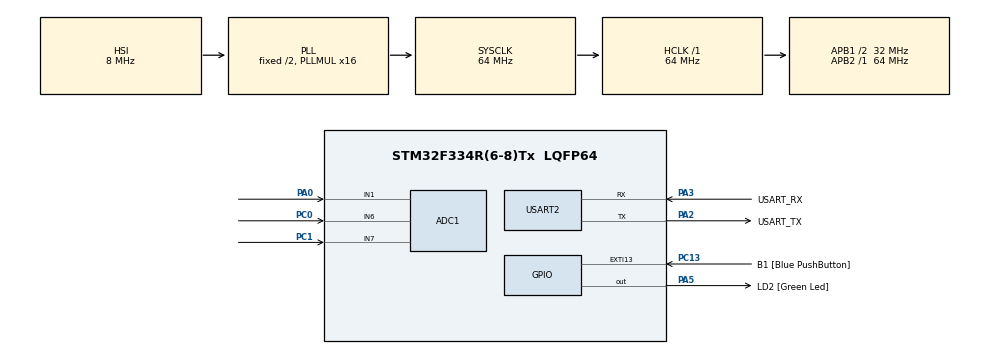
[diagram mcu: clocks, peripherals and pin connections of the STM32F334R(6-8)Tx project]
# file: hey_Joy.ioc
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ADC1.Channel-5\#ChannelRegularConversion=ADC_CHANNEL_1
ADC1.Channel-6\#ChannelRegularConversion=ADC_CHANNEL_6
ADC1.Channel-7\#ChannelRegularConversion=ADC_CHANNEL_7
ADC1.ClockPrescaler=ADC_CLOCK_SYNC_PCLK_DIV4
ADC1.ContinuousConvMode=ENABLE
ADC1.EOCSelection=ADC_EOC_SINGLE_CONV
ADC1.EnableRegularConversion=ENABLE
ADC1.NbrOfConversion=3
ADC1.NbrOfConversionFlag=1
ADC1.Offset-5\#ChannelRegularConversion=0
ADC1.Offset-6\#ChannelRegularConversion=0
ADC1.Offset-7\#ChannelRegularConversion=0
ADC1.OffsetNumber-5\#ChannelRegularConversion=ADC_OFFSET_NONE
ADC1.OffsetNumber-6\#ChannelRegularConversion=ADC_OFFSET_NONE
ADC1.OffsetNumber-7\#ChannelRegularConversion=ADC_OFFSET_NONE
ADC1.Rank-5\#ChannelRegularConversion=1
ADC1.Rank-6\#ChannelRegularConversion=2
ADC1.Rank-7\#ChannelRegularConversion=3
ADC1.SamplingTime-5\#ChannelRegularConversion=ADC_SAMPLETIME_61CYCLES_5
ADC1.SamplingTime-6\#ChannelRegularConversion=ADC_SAMPLETIME_61CYCLES_5
ADC1.SamplingTime-7\#ChannelRegularConversion=ADC_SAMPLETIME_61CYCLES_5
ADC1.SamplingTimeOPAMP-5\#ChannelRegularConversion=ADC_SAMPLETIME_7CYCLES_5
ADC1.SamplingTimeOPAMP-6\#ChannelRegularConversion=ADC_SAMPLETIME_7CYCLES_5
ADC1.SamplingTimeOPAMP-7\#ChannelRegularConversion=ADC_SAMPLETIME_7CYCLES_5
ADC1.SequencerNbRanks=1
ADC1.SubFamily=STM32F334x8
ADC1.master=1
Mcu.Family=STM32F3
Mcu.Name=STM32F334R(6-8)Tx
Mcu.Package=LQFP64
NVIC.PriorityGroup=NVIC_PRIORITYGROUP_0
PA0.Mode=IN1-Single-Ended
PA0.Signal=ADC1_IN1
PA13.GPIO_Label=TMS
PA13.Mode=Serial_Wire
PA13.Signal=SYS_JTMS-SWDIO
PA14.GPIO_Label=TCK
PA14.Mode=Serial_Wire
PA14.Signal=SYS_JTCK-SWCLK
PA2.GPIO_Label=USART_TX
PA2.Mode=Asynchronous
PA2.Signal=USART2_TX
PA3.GPIO_Label=USART_RX
PA3.Mode=Asynchronous
PA3.Signal=USART2_RX
PA5.GPIO_Label=LD2 [Green Led]
PA5.Signal=GPIO_Output
PB3.GPIO_Label=SWO
PB3.Signal=SYS_JTDO-TRACESWO
PC0.Signal=ADCx_IN6
PC1.Signal=ADCx_IN7
PC13.GPIO_Label=B1 [Blue PushButton]
PC13.GPIO_ModeDefaultEXTI=GPIO_MODE_IT_FALLING
PC13.Signal=GPXTI13
PC14\ /\ OSC32_IN.Signal=RCC_OSC32_IN
PC15\ /\ OSC32_OUT.GPIO_Label=RCC_OSC32_OUT
PC15\ /\ OSC32_OUT.Signal=RCC_OSC32_OUT
PF0\ /\ OSC_IN.Signal=RCC_OSC_IN
PF1\ /\ OSC_OUT.Signal=RCC_OSC_OUT
ProjectManager.HeapSize=0x200
ProjectManager.StackSize=0x400
ProjectManager.TargetToolchain=STM32CubeIDE
RCC.AHBFreq_Value=64000000
RCC.APB1CLKDivider=RCC_HCLK_DIV2
RCC.APB1Freq_Value=32000000
RCC.APB1TimFreq_Value=64000000
RCC.APB2Freq_Value=64000000
RCC.APB2TimFreq_Value=64000000
RCC.CortexFreq_Value=64000000
RCC.FLatency-AdvancedSettings=FLASH_LATENCY_2
RCC.HCLKFreq_Value=64000000
RCC.HSE_VALUE=8000000
RCC.HSI_VALUE=8000000
RCC.LSE_VALUE=32768
RCC.PLLMUL=RCC_PLL_MUL16
RCC.SYSCLKFreq_VALUE=64000000
RCC.SYSCLKSourceVirtual=RCC_SYSCLKSOURCE_PLLCLK
SH.ADCx_IN6.0=ADC1_IN6,IN6-Single-Ended
SH.ADCx_IN7.0=ADC1_IN7,IN7-Single-Ended
USART2.VirtualMode-Asynchronous=VM_ASYNC
board=NUCLEO-F334R8

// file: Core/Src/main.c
/* USER CODE BEGIN Header */
/**
  ******************************************************************************
  * @file           : main.c
  * @brief          : Main program body
  ******************************************************************************
  * @attention
  *
  * Copyright (c) 2022 STMicroelectronics.
  * All rights reserved.
  *
  * This software is licensed under terms that can be found in the LICENSE file
  * in the root directory of this software component.
  * If no LICENSE file comes with this software, it is provided AS-IS.
  *
  ******************************************************************************
  */
/* USER CODE END Header */
#include "main.h"

/* USER CODE BEGIN Includes */
#include "stdio.h"
/* USER CODE END Includes */

/* USER CODE BEGIN PD */
 uint16_t uwADCxConvertedValue[3];
/* USER CODE END PD */

ADC_HandleTypeDef hadc1;

UART_HandleTypeDef huart2;

void SystemClock_Config(void);
static void MX_GPIO_Init(void);
static void MX_USART2_UART_Init(void);
static void MX_ADC1_Init(void);

/* USER CODE BEGIN 0 */
#ifdef __GNUC__
/* With GCC, small printf (option LD Linker->Libraries->Small printf
set to 'Yes') calls __io_putchar() */
#define PUTCHAR_PROTOTYPE int __io_putchar(int ch)
#else
#define PUTCHAR_PROTOTYPE int fputc(int ch, FILE *f)
#endif /* __GNUC__ */
/**
* @brief Retargets the C library printf function to the USART.
* @param None
* @retval None
*/
PUTCHAR_PROTOTYPE
{
/* Place your implementation of fputc here */
/* e.g. write a character to the USART1 and Loop until the end of transmission */
if (ch == '\n')
HAL_UART_Transmit (&huart2, (uint8_t*) "\r", 1, 0xFFFF);
HAL_UART_Transmit (&huart2, (uint8_t*) &ch, 1, 0xFFFF);
return ch;
}
/* USER CODE END 0 */

int main(void)
{

  /* MCU Configuration--------------------------------------------------------*/

  /* Reset of all peripherals, Initializes the Flash interface and the Systick. */
  HAL_Init();

  /* Configure the system clock */
  SystemClock_Config();

  /* Initialize all configured peripherals */
  MX_GPIO_Init();
  MX_USART2_UART_Init();
  MX_ADC1_Init();
  /* USER CODE BEGIN 2 */

 // uint16_t SW;
  //HAL_ADCEx_Calibration_Start(&hadc1, ADC_CHANNEL_1);
  if( HAL_ADCEx_Calibration_Start(&hadc1, ADC_CHANNEL_1) != HAL_OK ){
  Error_Handler();
  }
  if( HAL_ADCEx_Calibration_Start(&hadc1, ADC_CHANNEL_6) != HAL_OK ){
  Error_Handler();
  }
  if( HAL_ADCEx_Calibration_Start(&hadc1, ADC_CHANNEL_7) != HAL_OK ){
  Error_Handler();
  }

  /* USER CODE END 2 */

  /* Infinite loop */
  /* USER CODE BEGIN WHILE */
  while (1)
  {

	  if (HAL_ADC_Start (&hadc1) != HAL_OK)
		{

		Error_Handler ();
		}

	  for (uint8_t i = 0; i < 3; i++)
	  {
	  /* ### - 5 - Wait for the end of conversion ############## */

	  HAL_ADC_PollForConversion (&hadc1, 10000); //HAL_MAX_DELAY

	  /* Check if the continuous conversion of regular channel is finished */
	  if ((HAL_ADC_GetState (&hadc1) & HAL_ADC_STATE_REG_EOC) == HAL_ADC_STATE_REG_EOC)
	  {
	  /* ### - 6 - Get the converted value of regular channel ############ */
	  uwADCxConvertedValue[i] = HAL_ADC_GetValue (&hadc1);
	  }
	  }
	  /*
	  if (HAL_GPIO_ReadPin(GPIOA, BU1_Pin))
	  SW = 5000;
	  else
	  SW = 0;
	  }
	  */
	  HAL_ADC_Stop (&hadc1);

	  printf ("%4d, %4d, %4d \n", uwADCxConvertedValue[0], uwADCxConvertedValue[1], uwADCxConvertedValue[2]);
	  HAL_Delay (100);

    /* USER CODE END WHILE */

  }
}

void SystemClock_Config(void)
{
  RCC_OscInitTypeDef RCC_OscInitStruct = {0};
  RCC_ClkInitTypeDef RCC_ClkInitStruct = {0};

  /** Initializes the RCC Oscillators according to the specified parameters
  * in the RCC_OscInitTypeDef structure.
  */
  RCC_OscInitStruct.OscillatorType = RCC_OSCILLATORTYPE_HSI;
  RCC_OscInitStruct.HSIState = RCC_HSI_ON;
  RCC_OscInitStruct.HSICalibrationValue = RCC_HSICALIBRATION_DEFAULT;
  RCC_OscInitStruct.PLL.PLLState = RCC_PLL_ON;
  RCC_OscInitStruct.PLL.PLLSource = RCC_PLLSOURCE_HSI;
  RCC_OscInitStruct.PLL.PLLMUL = RCC_PLL_MUL16;
  if (HAL_RCC_OscConfig(&RCC_OscInitStruct) != HAL_OK)
  {
    Error_Handler();
  }

  /** Initializes the CPU, AHB and APB buses clocks
  */
  RCC_ClkInitStruct.ClockType = RCC_CLOCKTYPE_HCLK|RCC_CLOCKTYPE_SYSCLK
                              |RCC_CLOCKTYPE_PCLK1|RCC_CLOCKTYPE_PCLK2;
  RCC_ClkInitStruct.SYSCLKSource = RCC_SYSCLKSOURCE_PLLCLK;
  RCC_ClkInitStruct.AHBCLKDivider = RCC_SYSCLK_DIV1;
  RCC_ClkInitStruct.APB1CLKDivider = RCC_HCLK_DIV2;
  RCC_ClkInitStruct.APB2CLKDivider = RCC_HCLK_DIV1;

  if (HAL_RCC_ClockConfig(&RCC_ClkInitStruct, FLASH_LATENCY_2) != HAL_OK)
  {
    Error_Handler();
  }
}

static void MX_ADC1_Init(void)
{

  ADC_MultiModeTypeDef multimode = {0};
  ADC_ChannelConfTypeDef sConfig = {0};

  /** Common config
  */
  hadc1.Instance = ADC1;
  hadc1.Init.ClockPrescaler = ADC_CLOCK_SYNC_PCLK_DIV4;
  hadc1.Init.Resolution = ADC_RESOLUTION_12B;
  hadc1.Init.ScanConvMode = ADC_SCAN_ENABLE;
  hadc1.Init.ContinuousConvMode = ENABLE;
  hadc1.Init.DiscontinuousConvMode = DISABLE;
  hadc1.Init.ExternalTrigConvEdge = ADC_EXTERNALTRIGCONVEDGE_NONE;
  hadc1.Init.ExternalTrigConv = ADC_SOFTWARE_START;
  hadc1.Init.DataAlign = ADC_DATAALIGN_RIGHT;
  hadc1.Init.NbrOfConversion = 3;
  hadc1.Init.DMAContinuousRequests = DISABLE;
  hadc1.Init.EOCSelection = ADC_EOC_SINGLE_CONV;
  hadc1.Init.LowPowerAutoWait = DISABLE;
  hadc1.Init.Overrun = ADC_OVR_DATA_OVERWRITTEN;
  if (HAL_ADC_Init(&hadc1) != HAL_OK)
  {
    Error_Handler();
  }

  /** Configure the ADC multi-mode
  */
  multimode.Mode = ADC_MODE_INDEPENDENT;
  if (HAL_ADCEx_MultiModeConfigChannel(&hadc1, &multimode) != HAL_OK)
  {
    Error_Handler();
  }

  /** Configure Regular Channel
  */
  sConfig.Channel = ADC_CHANNEL_1;
  sConfig.Rank = ADC_REGULAR_RANK_1;
  sConfig.SingleDiff = ADC_SINGLE_ENDED;
  sConfig.SamplingTime = ADC_SAMPLETIME_61CYCLES_5;
  sConfig.OffsetNumber = ADC_OFFSET_NONE;
  sConfig.Offset = 0;
  if (HAL_ADC_ConfigChannel(&hadc1, &sConfig) != HAL_OK)
  {
    Error_Handler();
  }

  /** Configure Regular Channel
  */
  sConfig.Channel = ADC_CHANNEL_6;
  sConfig.Rank = ADC_REGULAR_RANK_2;
  if (HAL_ADC_ConfigChannel(&hadc1, &sConfig) != HAL_OK)
  {
    Error_Handler();
  }

  /** Configure Regular Channel
  */
  sConfig.Channel = ADC_CHANNEL_7;
  sConfig.Rank = ADC_REGULAR_RANK_3;
  if (HAL_ADC_ConfigChannel(&hadc1, &sConfig) != HAL_OK)
  {
    Error_Handler();
  }

}

static void MX_USART2_UART_Init(void)
{

  huart2.Instance = USART2;
  huart2.Init.BaudRate = 38400;
  huart2.Init.WordLength = UART_WORDLENGTH_8B;
  huart2.Init.StopBits = UART_STOPBITS_1;
  huart2.Init.Parity = UART_PARITY_NONE;
  huart2.Init.Mode = UART_MODE_TX_RX;
  huart2.Init.HwFlowCtl = UART_HWCONTROL_NONE;
  huart2.Init.OverSampling = UART_OVERSAMPLING_16;
  huart2.Init.OneBitSampling = UART_ONE_BIT_SAMPLE_DISABLE;
  huart2.AdvancedInit.AdvFeatureInit = UART_ADVFEATURE_NO_INIT;
  if (HAL_UART_Init(&huart2) != HAL_OK)
  {
    Error_Handler();
  }

}

static void MX_GPIO_Init(void)
{
  GPIO_InitTypeDef GPIO_InitStruct = {0};

  /* GPIO Ports Clock Enable */
  __HAL_RCC_GPIOC_CLK_ENABLE();
  __HAL_RCC_GPIOF_CLK_ENABLE();
  __HAL_RCC_GPIOA_CLK_ENABLE();
  __HAL_RCC_GPIOB_CLK_ENABLE();

  /*Configure GPIO pin Output Level */
  HAL_GPIO_WritePin(LD2_GPIO_Port, LD2_Pin, GPIO_PIN_RESET);

  /*Configure GPIO pin : B1_Pin */
  GPIO_InitStruct.Pin = B1_Pin;
  GPIO_InitStruct.Mode = GPIO_MODE_IT_FALLING;
  GPIO_InitStruct.Pull = GPIO_NOPULL;
  HAL_GPIO_Init(B1_GPIO_Port, &GPIO_InitStruct);

  /*Configure GPIO pin : LD2_Pin */
  GPIO_InitStruct.Pin = LD2_Pin;
  GPIO_InitStruct.Mode = GPIO_MODE_OUTPUT_PP;
  GPIO_InitStruct.Pull = GPIO_NOPULL;
  GPIO_InitStruct.Speed = GPIO_SPEED_FREQ_LOW;
  HAL_GPIO_Init(LD2_GPIO_Port, &GPIO_InitStruct);

}

void Error_Handler(void)
{
  __disable_irq();
  while (1)
  {
  }
}
